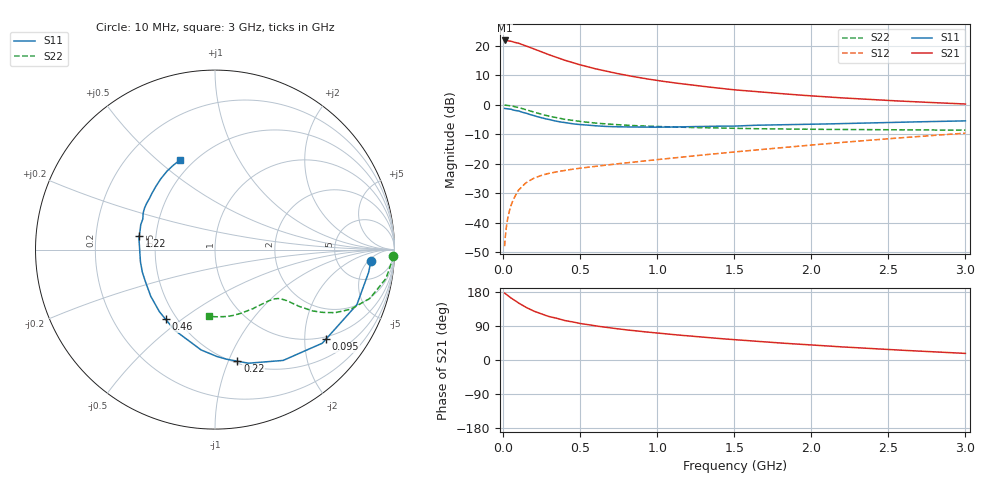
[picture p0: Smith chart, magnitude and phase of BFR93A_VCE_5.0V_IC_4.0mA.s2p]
! Infineon Technologies  Discrete & RF Semiconductors
! BFR93A
! VCE =  5.0 V,  IC =  4.0 mA
! Common Emitter S-Parameters:  Nov 2015
# GHz  S  MA  R  50
!  f  S11  S21  S12  S22
! GHz  MAG  ANG  MAG  ANG  MAG  ANG  MAG  ANG
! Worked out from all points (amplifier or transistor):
!   180 points, 10 MHz to 3 GHz, reference 50 ohm
!   highest |S21| = 21.9 dB at 10 MHz (marker M1)
!   |S21| within 3 dB of that: start of sweep to 206.8 MHz
!   unconditionally stable (mu >= 1): 821.7 MHz to 2.563 GHz
!   at 160 MHz: K = 0.29, MSG = 23.0 dB, |S12| = -26.1 dB
!   at 1.22 GHz: K = 1.12, MAG = 10.0 dB, |S12| = -17.4 dB
!   at 3 GHz: K = 0.94, MSG = 4.9 dB, |S12| = -9.6 dB
!   S11 on the Smith chart (normalised r, x): 10 MHz: 11, -6; 95 MHz: 0.93, -2.52; 220 MHz: 0.52, -1.08; 460 MHz: 0.44, -0.44; 1.22 GHz: 0.40, +0.07; 3 GHz: 0.43, +0.60
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0.01  0.871 -4.3  12.42 176.6  0.004 87.7  0.9923 -2.0
0.025  0.8594 -10.6  12.31 171.9  0.0098 82.0  0.9835 -4.7
0.05  0.848 -21.2  12.07 164.1  0.0192 79.0  0.9666 -9.5
0.095  0.7943 -39.0  11.23 151.9  0.0339 69.7  0.9101 -16.7
0.1  0.7934 -41.1  11.17 150.5  0.0356 69.1  0.9048 -17.5
0.15  0.7249 -58.4  10.03 138.5  0.0478 61.5  0.8273 -23.6
0.2  0.6599 -73.6  8.943 128.9  0.057 56.3  0.7559 -27.7
0.22  0.6341 -78.6  8.519 125.9  0.0597 54.6  0.7304 -28.7
0.26  0.5956 -89.0  7.757 119.7  0.0649 51.9  0.6826 -30.7
0.3  0.5643 -97.9  7.085 114.5  0.0691 50.2  0.6429 -32.1
0.4  0.5024 -116.6  5.735 104.2  0.0774 48.1  0.5701 -33.9
0.46  0.4755 -125.4  5.156 99.8  0.0815 47.7  0.5419 -34.4
0.52  0.4584 -134.1  4.648 95.2  0.0856 47.6  0.5167 -34.9
0.6  0.4425 -144.0  4.102 89.9  0.0906 48.0  0.4909 -35.4
0.7  0.4281 -154.0  3.581 84.3  0.0973 49.1  0.4689 -36.3
0.88  0.4209 -169.0  2.918 76.1  0.1092 51.2  0.4416 -38.2
1.02  0.4192 -178.7  2.554 70.4  0.1193 52.6  0.4286 -40.1
1.22  0.4289 170.1  2.184 62.9  0.1352 54.5  0.4138 -43.6
1.52  0.4391 156.2  1.787 53.0  0.1607 56.4  0.399 -50.0
2.02  0.4704 138.5  1.413 39.1  0.2106 57.0  0.3855 -62.9
2.52  0.5049 124.1  1.184 27.4  0.2689 54.9  0.3787 -77.9
3  0.536 111.3  1.036 17.4  0.3315 50.9  0.3741 -95.2
